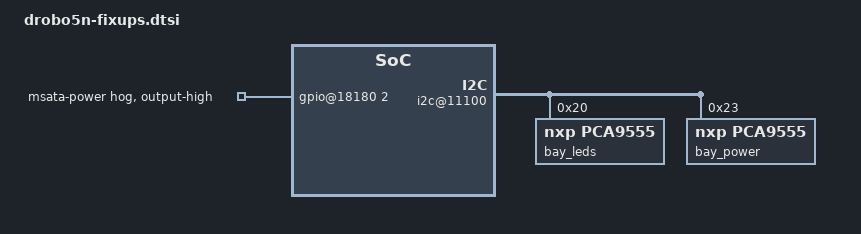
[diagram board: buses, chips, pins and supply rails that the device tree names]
/*
 * Drobo 5N fixups, appended to the base DTB's source by mkdrobodtb.
 * The base is the Armada XP DB tree plus the board's real MAC (local-mac-address),
 * which is private, so it isn't kept here.
 */

/* Only eth0 (0xd0070000, PHY 0, a Marvell 88E1318S) is wired. Drop the reference board's other three. */
&{/soc/internal-regs/ethernet@74000} { status = "disabled"; /delete-property/ phy; };
&{/soc/internal-regs/ethernet@30000} { status = "disabled"; /delete-property/ phy; };
&{/soc/internal-regs/ethernet@34000} { status = "disabled"; /delete-property/ phy; };
/delete-node/ &{/soc/internal-regs/mdio@72004/ethernet-phy@1};
/delete-node/ &{/soc/internal-regs/mdio@72004/ethernet-phy@2};
/delete-node/ &{/soc/internal-regs/mdio@72004/ethernet-phy@3};

/* mSATA power is SoC GPIO 66 (bank 2, line 2), active high. Keep it on: the slot isn't hot-swap. */
&{/soc/internal-regs/gpio@18180} {
	msata-power-hog {
		gpio-hog;
		gpios = <2 0>;
		output-high;
		line-name = "msata-power";
	};
};

/*
 * The backplane's two PCA9555 expanders on TWSI1. Bays are 0 (top) to 4 (bottom).
 * 0x20: two LEDs per bay.  0x23: port 0 = bay power (active high), port 1 = detect (low = disk present).
 */
&{/soc/internal-regs/i2c@11100} {
	#address-cells = <1>;
	#size-cells = <0>;

	bay_leds: gpio@20 {
		compatible = "nxp,pca9555";
		reg = <0x20>;
		gpio-controller;
		#gpio-cells = <2>;
		gpio-line-names =
			"bay3-led-a", "bay3-led-b", "bay2-led-a", "bay2-led-b",
			"bay1-led-a", "bay1-led-b", "bay0-led-a", "bay0-led-b",
			"bay4-led-a", "bay4-led-b", "", "", "", "", "", "";
	};

	bay_power: gpio@23 {
		compatible = "nxp,pca9555";
		reg = <0x23>;
		gpio-controller;
		#gpio-cells = <2>;
		gpio-line-names =
			"bay3-power", "bay2-power", "bay1-power", "bay0-power",
			"bay4-power", "", "", "",
			"bay3-detect", "bay2-detect", "bay1-detect", "bay0-detect",
			"bay4-detect", "", "", "";
	};
};
